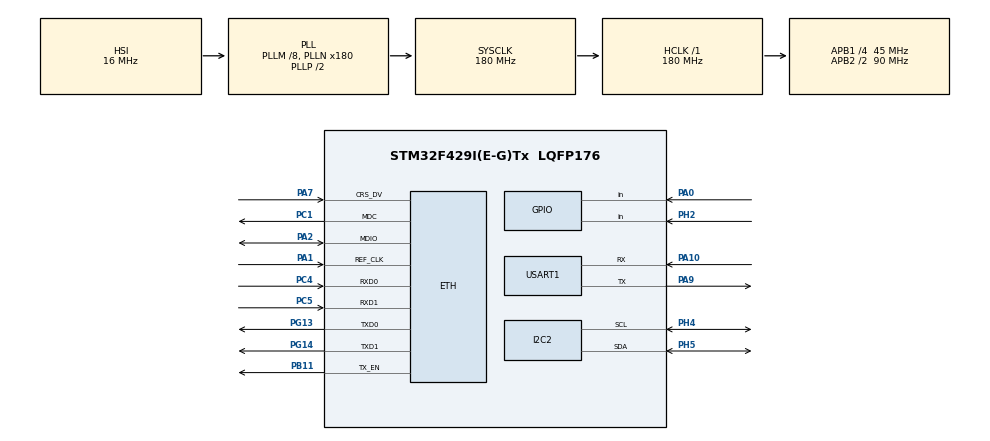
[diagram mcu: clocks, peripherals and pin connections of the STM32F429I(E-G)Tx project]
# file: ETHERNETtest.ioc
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Dma.I2C2_RX.0.Direction=DMA_PERIPH_TO_MEMORY
Dma.I2C2_RX.0.FIFOMode=DMA_FIFOMODE_DISABLE
Dma.I2C2_RX.0.Instance=DMA1_Stream2
Dma.I2C2_RX.0.MemDataAlignment=DMA_MDATAALIGN_BYTE
Dma.I2C2_RX.0.MemInc=DMA_MINC_ENABLE
Dma.I2C2_RX.0.Mode=DMA_NORMAL
Dma.I2C2_RX.0.PeriphDataAlignment=DMA_PDATAALIGN_BYTE
Dma.I2C2_RX.0.PeriphInc=DMA_PINC_DISABLE
Dma.I2C2_RX.0.Priority=DMA_PRIORITY_LOW
Dma.I2C2_TX.1.Direction=DMA_MEMORY_TO_PERIPH
Dma.I2C2_TX.1.FIFOMode=DMA_FIFOMODE_DISABLE
Dma.I2C2_TX.1.Instance=DMA1_Stream7
Dma.I2C2_TX.1.MemDataAlignment=DMA_MDATAALIGN_BYTE
Dma.I2C2_TX.1.MemInc=DMA_MINC_ENABLE
Dma.I2C2_TX.1.Mode=DMA_NORMAL
Dma.I2C2_TX.1.PeriphDataAlignment=DMA_PDATAALIGN_BYTE
Dma.I2C2_TX.1.PeriphInc=DMA_PINC_DISABLE
Dma.I2C2_TX.1.Priority=DMA_PRIORITY_LOW
Dma.Request0=I2C2_RX
Dma.Request1=I2C2_TX
ETH.MediaInterface=HAL_ETH_RMII_MODE
ETH.RxMode=ETH_RXPOLLING_MODE
I2C2.I2C_Mode=I2C_Fast
LWIP.BSP.number=1
LWIP.GATEWAY_ADDRESS=192.168.001.001
LWIP.IP_ADDRESS=192.168.001.030
LWIP.LWIP_DHCP=0
LWIP.LWIP_UDP=1
LWIP.NETMASK_ADDRESS=255.255.255.000
LWIP.Version=v2.1.2_Cube
LWIP0.BSP.STBoard=false
LWIP0.BSP.api=BSP_COMPONENT_DRIVER
LWIP0.BSP.component=USER_PHY
LWIP0.BSP.instance=USER_PHY
LWIP0.BSP.name=Driver_PHY
LWIP0.BSP.semaphore=S_USER_PHY
LWIP0.BSP.solution=USER_PHY
Mcu.Family=STM32F4
Mcu.Name=STM32F429I(E-G)Tx
Mcu.Package=LQFP176
NVIC.DMA1_Stream2_IRQn=true\:0\:0\:false\:false\:true\:false\:true\:true
NVIC.DMA1_Stream7_IRQn=true\:0\:0\:false\:false\:true\:false\:true\:true
NVIC.I2C2_EV_IRQn=true\:0\:0\:false\:false\:true\:true\:true\:true
NVIC.PriorityGroup=NVIC_PRIORITYGROUP_4
PA0/WKUP.GPIO_PuPd=GPIO_PULLDOWN
PA0/WKUP.Signal=GPIO_Input
PA1.Mode=RMII
PA1.Signal=ETH_REF_CLK
PA10.Mode=Asynchronous
PA10.Signal=USART1_RX
PA13.Mode=Serial_Wire
PA13.Signal=SYS_JTMS-SWDIO
PA14.Mode=Serial_Wire
PA14.Signal=SYS_JTCK-SWCLK
PA2.Mode=RMII
PA2.Signal=ETH_MDIO
PA7.Mode=RMII
PA7.Signal=ETH_CRS_DV
PA9.Mode=Asynchronous
PA9.Signal=USART1_TX
PB11.Mode=RMII
PB11.Signal=ETH_TX_EN
PC1.Mode=RMII
PC1.Signal=ETH_MDC
PC4.Mode=RMII
PC4.Signal=ETH_RXD0
PC5.Mode=RMII
PC5.Signal=ETH_RXD1
PG13.Mode=RMII
PG13.Signal=ETH_TXD0
PG14.Mode=RMII
PG14.Signal=ETH_TXD1
PH0/OSC_IN.Mode=HSE-External-Oscillator
PH0/OSC_IN.Signal=RCC_OSC_IN
PH1/OSC_OUT.Mode=HSE-External-Oscillator
PH1/OSC_OUT.Signal=RCC_OSC_OUT
PH2.GPIO_PuPd=GPIO_PULLUP
PH2.Signal=GPIO_Input
PH4.Mode=I2C
PH4.Signal=I2C2_SCL
PH5.Mode=I2C
PH5.Signal=I2C2_SDA
ProjectManager.HeapSize=0x200
ProjectManager.StackSize=0x400
ProjectManager.TargetToolchain=CMake
RCC.48MHZClocksFreq_Value=90000000
RCC.AHBFreq_Value=180000000
RCC.APB1CLKDivider=RCC_HCLK_DIV4
RCC.APB1Freq_Value=45000000
RCC.APB1TimFreq_Value=90000000
RCC.APB2CLKDivider=RCC_HCLK_DIV2
RCC.APB2Freq_Value=90000000
RCC.APB2TimFreq_Value=180000000
RCC.CortexFreq_Value=180000000
RCC.HCLKFreq_Value=180000000
RCC.HSE_VALUE=25000000
RCC.HSI_VALUE=16000000
RCC.LSE_VALUE=32768
RCC.PLLM=8
RCC.PLLN=180
RCC.SYSCLKFreq_VALUE=180000000
RCC.SYSCLKSource=RCC_SYSCLKSOURCE_PLLCLK
RCC.VCOOutputFreq_Value=360000000
USART1.VirtualMode=VM_ASYNC
VP_LWIP_VS_Enabled.Mode=Enabled
board=custom

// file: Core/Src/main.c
/* USER CODE BEGIN Header */
/**
  ******************************************************************************
  * @file           : main.c
  * @brief          : Main program body
  ******************************************************************************
  * @attention
  *
  * Copyright (c) 2026 STMicroelectronics.
  * All rights reserved.
  *
  * This software is licensed under terms that can be found in the LICENSE file
  * in the root directory of this software component.
  * If no LICENSE file comes with this software, it is provided AS-IS.
  *
  ******************************************************************************
  */
/* USER CODE END Header */
#include "main.h"
#include "dma.h"
#include "i2c.h"
#include "lwip.h"
#include "usart.h"
#include "gpio.h"

/* USER CODE BEGIN Includes */
#include "debug_uart.h"
#include "eth_phy.h"
#include "board_io.h"       /* 板级 IO 注册表（DS0/DS1） */
#include "oled.h"        /* 波特律动 SSD1306 128x64 OLED（I2C2 PH4/PH5） */
#include "font.h"        /* afont16x8 / font16x16 字库 */
#include "echo_service.h"   /* 带话术的回声服务（当前启用） */
#include "udp_echo.h"       /* 原样回环（保留，未启用，端口与上面冲突） */
/* gnetif 定义在 LWIP/App/lwip.c，但 lwip.h 没有 extern 它，这里自己声明 */
extern struct netif gnetif;
/* USER CODE END Includes */

void SystemClock_Config(void);

int main(void)
{

  /* MCU Configuration--------------------------------------------------------*/

  /* Reset of all peripherals, Initializes the Flash interface and the Systick. */
  HAL_Init();

  /* Configure the system clock */
  SystemClock_Config();

  /* Initialize all configured peripherals */
  MX_GPIO_Init();
  MX_DMA_Init();
  MX_USART1_UART_Init();
  MX_I2C2_Init();
  /* USER CODE BEGIN 2 */
  Debug_UART_Banner("ETHERNETtest boot (step 3: lwip)");
  printf("[OK] printf redirect works\r\n");

  /* 板级 IO（DS0=PB0 / DS1=PB1，低电平点亮）。必须在 MX_GPIO_Init() 之后
   * —— GPIO 时钟由它使能。放这里是因为它和网络无关，早配早干净：
   * 上电后 LED 立刻处于"灭"的确定状态，而不是保持复位后的 ODR=0（对低电平
   * 点亮的灯来说 ODR=0 就是亮）。 */
  Board_IO_Init();

  /* 【关键顺序】PHY 复位必须先释放，否则 MX_LWIP_Init() 内部的 HAL_ETH_Init()
   * 会对着一个没上电的 PHY 返回"成功"，然后你就得到一个永远 ping 不通的 lwIP。 */
  if (ETH_PHY_ReleaseReset() != 0)
  {
    printf("[ERR] PHY reset release failed -- lwIP would be a zombie, stopping.\r\n");
    while (1) { HAL_Delay(1000); }
  }

  MX_LWIP_Init();

  printf("[OK] MX_LWIP_Init() returned\r\n");
  printf("[IP ] board = %u.%u.%u.%u  mask = %u.%u.%u.%u  gw = %u.%u.%u.%u\r\n",
         ip4_addr1(&gnetif.ip_addr), ip4_addr2(&gnetif.ip_addr),
         ip4_addr3(&gnetif.ip_addr), ip4_addr4(&gnetif.ip_addr),
         ip4_addr1(&gnetif.netmask), ip4_addr2(&gnetif.netmask),
         ip4_addr3(&gnetif.netmask), ip4_addr4(&gnetif.netmask),
         ip4_addr1(&gnetif.gw),      ip4_addr2(&gnetif.gw),
         ip4_addr3(&gnetif.gw),      ip4_addr4(&gnetif.gw));
  printf("[MAC] %02X:%02X:%02X:%02X:%02X:%02X\r\n",
         gnetif.hwaddr[0], gnetif.hwaddr[1], gnetif.hwaddr[2],
         gnetif.hwaddr[3], gnetif.hwaddr[4], gnetif.hwaddr[5]);
  printf("[IP ] ping 192.168.1.30 from the PC now\r\n");

  /* UDP 回声服务。必须在 MX_LWIP_Init() 之后（netif 得先 add/up，udp_bind 才有意义）。
   * 失败不阻塞主循环，否则连 ping 都做不了。
   *
   * 【注意】echo_service.c 和 udp_echo.c 功能重叠且默认都用 8080 端口，
   * 一个 UDP 端口只能被一个 pcb 绑定，所以这里二选一。当前用带话术的
   * echo_service（回复"我收到你的信息了，是 xxx 吗？"）。要换回原样回环，
   * 把下面这行注释掉、启用 UDP_Echo_Init()/UDP_Echo_Poll() 即可（二者端口
   * 相同，绝不能同时开）。 */
  if (Echo_Service_Init() != 0)
  {
    printf("[ERR] Echo_Service_Init() failed -- echo service unavailable\r\n");
  }

  /* SSD1306 OLED（I2C2，和 PCF8574 共用总线）—— 用波特律动驱动 oled.c。
   *
   * 【为什么放在 ETH_PHY_ReleaseReset() 之后】
   * 同一根 I2C2 上挂着 PCF8574（管 ETH_RESET）。OLED 插上后总线负载变大，
   * 如果 OLED 初始化把总线拉死，紧接着的 ETH_PHY_ReleaseReset() 就会失败，
   * 而那个函数失败是 while(1) 直接停 —— 板子永远起不来。
   * 放在后面，最坏情况也只是屏不亮，网络照常。
   *
   * 【为什么不检查返回值】波特律动的 OLED_Init() 返回 void，它内部
   * OLED_Send() 把 HAL 错误全吞了。所以这里没法判断成功与否，只能画完
   * 让用户看屏。屏不亮就发 'OLED INIT' 手动重试。
   *
   * 【上电时序】模块上的复位电容要充电，STM32 启动比 OLED 上电快，
   * 所以这里等 100ms 再初始化（oled.c 原注释也提示要等 20ms 以上）。 */
  HAL_Delay(100);

  OLED_Init();

  /* 【开机画面为什么用阻塞版】
   * OLED_ShowFrame() 现在是异步的（只启动第一页就返回），本意是别让刷屏
   * 卡住 lwIP。但开机这一刻还没有网络要伺候，用阻塞版反而更简单：
   * 画完就完整显示在屏上，不用等主循环来推进。
   * 主循环一旦跑起来，后面所有 OLED 命令走的都是异步版。 */
  OLED_NewFrame();

  /* 波特律动的打印函数形参是 char*（非 const），字面量要转一下。
   * 这是 main() 的栈帧，只在这几行用，转成可写指针是安全的。 */
  {
    static char l0[] = "ETHERNETtest";
    static char l1[] = "192.168.1.30";
    static char l2[] = "UDP :8080";
    static char l3[] = "type HELP";

    OLED_PrintASCIIString(0U,  0U, l0, &afont16x8, OLED_COLOR_NORMAL);
    OLED_PrintASCIIString(0U, 16U, l1, &afont16x8, OLED_COLOR_NORMAL);
    OLED_PrintASCIIString(0U, 32U, l2, &afont16x8, OLED_COLOR_NORMAL);
    OLED_PrintASCIIString(0U, 48U, l3, &afont16x8, OLED_COLOR_NORMAL);
  }

  OLED_ShowFrameBlocking();
  printf("[OLED] boot screen drawn (BaudDance driver, I2C2 PH4/PH5)\r\n");
  /* USER CODE END 2 */

  /* Infinite loop */
  while (1)
  {

    /* USER CODE BEGIN 3 */
    MX_LWIP_Process();

    Echo_Service_Poll();   /* 非阻塞，内部 1 秒节流；只在收到过包之后才发 */

    /* 推进 OLED 后台刷屏，每步 ≤ 约 2.8ms。
     *
     * 【为什么必须放在主循环里】OLED_ShowFrame() 现在只启动第一页就返回，
     * 剩下的 7 页靠这里一句一句喂完。少了这一句，整屏只会送出第一页，
     * 屏上会是"第一行对、下面全乱"。 */
    OLED_FlushPoll();
  }
  /* USER CODE END 3 */
}

void SystemClock_Config(void)
{
  RCC_OscInitTypeDef RCC_OscInitStruct = {0};
  RCC_ClkInitTypeDef RCC_ClkInitStruct = {0};

  /** Configure the main internal regulator output voltage
  */
  __HAL_RCC_PWR_CLK_ENABLE();
  __HAL_PWR_VOLTAGESCALING_CONFIG(PWR_REGULATOR_VOLTAGE_SCALE1);

  /** Initializes the RCC Oscillators according to the specified parameters
  * in the RCC_OscInitTypeDef structure.
  */
  RCC_OscInitStruct.OscillatorType = RCC_OSCILLATORTYPE_HSI;
  RCC_OscInitStruct.HSIState = RCC_HSI_ON;
  RCC_OscInitStruct.HSICalibrationValue = RCC_HSICALIBRATION_DEFAULT;
  RCC_OscInitStruct.PLL.PLLState = RCC_PLL_ON;
  RCC_OscInitStruct.PLL.PLLSource = RCC_PLLSOURCE_HSI;
  RCC_OscInitStruct.PLL.PLLM = 8;
  RCC_OscInitStruct.PLL.PLLN = 180;
  RCC_OscInitStruct.PLL.PLLP = RCC_PLLP_DIV2;
  RCC_OscInitStruct.PLL.PLLQ = 4;
  if (HAL_RCC_OscConfig(&RCC_OscInitStruct) != HAL_OK)
  {
    Error_Handler();
  }

  /** Activate the Over-Drive mode
  */
  if (HAL_PWREx_EnableOverDrive() != HAL_OK)
  {
    Error_Handler();
  }

  /** Initializes the CPU, AHB and APB buses clocks
  */
  RCC_ClkInitStruct.ClockType = RCC_CLOCKTYPE_HCLK|RCC_CLOCKTYPE_SYSCLK
                              |RCC_CLOCKTYPE_PCLK1|RCC_CLOCKTYPE_PCLK2;
  RCC_ClkInitStruct.SYSCLKSource = RCC_SYSCLKSOURCE_PLLCLK;
  RCC_ClkInitStruct.AHBCLKDivider = RCC_SYSCLK_DIV1;
  RCC_ClkInitStruct.APB1CLKDivider = RCC_HCLK_DIV4;
  RCC_ClkInitStruct.APB2CLKDivider = RCC_HCLK_DIV2;

  if (HAL_RCC_ClockConfig(&RCC_ClkInitStruct, FLASH_LATENCY_5) != HAL_OK)
  {
    Error_Handler();
  }
}

void Error_Handler(void)
{
  __disable_irq();
  while (1)
  {
  }
}
